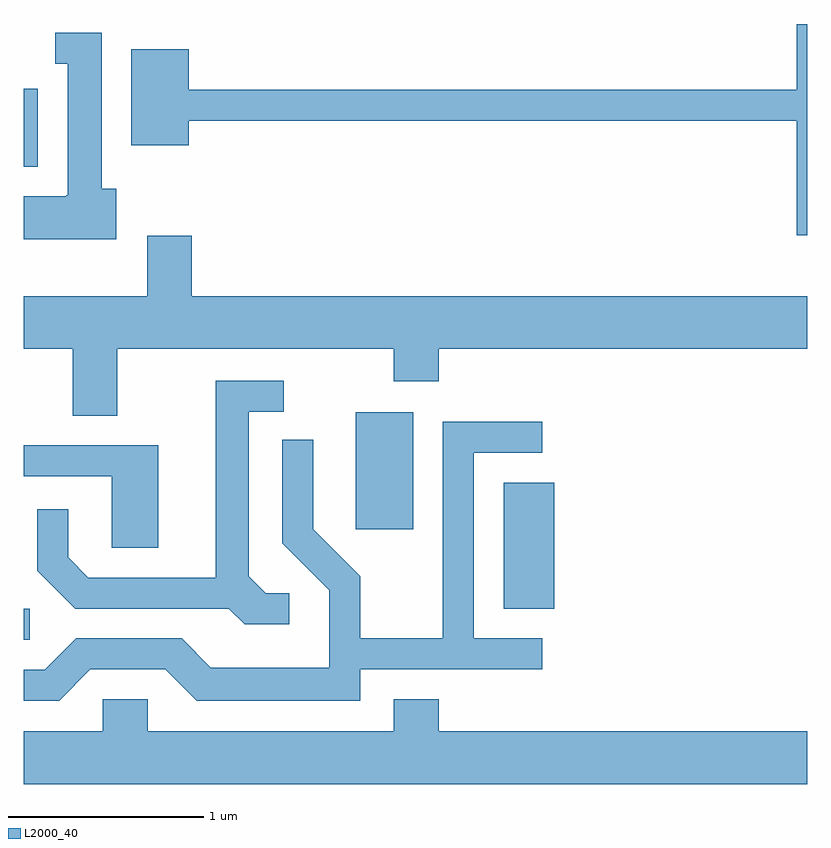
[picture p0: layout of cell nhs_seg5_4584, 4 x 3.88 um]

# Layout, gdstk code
import gdstk
lib = gdstk.Library(unit=1e-6, precision=1e-09)
def R(c, l, rs):  # rectangles x0, y0, x1, y1
    for r in rs: c.add(gdstk.rectangle(r[:2], r[2:], *l))
def P(c, l, *ps):  # polygons
    for p in ps: c.add(gdstk.Polygon(p, *l))
L2000_40 = (2000, 40)

nhs_seg5_4584 = lib.new_cell('nhs_seg5_4584')
R(nhs_seg5_4584, L2000_40, [(321.611,1430.891,321.643,1431.049), (324.061,1431.051,324.319,1431.694), (323.306,1431.456,323.599,1432.054), (321.611,1433.306,321.684,1433.704)])
P(nhs_seg5_4584, L2000_40, [(325.611,1434.034),(325.556,1434.034),(325.556,1433.699),(322.454,1433.699),(322.454,1433.904),(322.161,1433.904),(322.161,1433.416),(322.454,1433.416),(322.454,1433.541),(325.556,1433.541),(325.556,1432.956),(325.611,1432.956)],
  [(322.084,1433.194),(322.009,1433.194),(322.009,1433.989),(321.773,1433.989),(321.773,1433.831),(321.836,1433.831),(321.836,1433.16),(321.83,1433.16),(321.83,1433.154),(321.611,1433.154),(321.611,1432.936),(322.084,1432.936)],
  [(321.611,1432.376),(321.861,1432.376),(321.861,1432.036),(322.089,1432.036),(322.089,1432.376),(323.501,1432.376),(323.501,1432.211),(323.729,1432.211),(323.729,1432.376),(325.611,1432.376),(325.611,1432.644),(322.469,1432.644),(322.469,1432.954),(322.241,1432.954),(322.241,1432.644),(321.611,1432.644)],
  [(322.968,1431.129),(322.847,1431.129),(322.759,1431.217),(322.759,1432.056),(322.938,1432.056),(322.938,1432.214),(322.591,1432.214),(322.591,1431.209),(321.942,1431.209),(321.839,1431.312),(321.839,1431.558),(321.681,1431.558),(321.681,1431.244),(321.874,1431.051),(322.659,1431.051),(322.739,1430.971),(322.968,1430.971)],
  [(321.952,1430.741),(322.334,1430.741),(322.494,1430.581),(323.329,1430.581),(323.329,1430.741),(324.258,1430.741),(324.258,1430.899),(323.909,1430.899),(323.909,1431.846),(324.258,1431.846),(324.258,1432.004),(323.751,1432.004),(323.751,1430.899),(323.329,1430.899),(323.329,1431.217),(323.089,1431.457),(323.089,1431.913),(322.931,1431.913),(322.931,1431.384),(323.171,1431.144),(323.171,1430.749),(322.567,1430.749),(322.417,1430.899),(321.879,1430.899),(321.719,1430.739),(321.611,1430.739),(321.611,1430.581),(321.792,1430.581)],
  [(322.299,1431.884),(321.611,1431.884),(321.611,1431.726),(322.061,1431.726),(322.061,1431.361),(322.299,1431.361)],
  [(325.611,1430.424),(323.729,1430.424),(323.729,1430.589),(323.501,1430.589),(323.501,1430.424),(322.244,1430.424),(322.244,1430.589),(322.016,1430.589),(322.016,1430.424),(321.611,1430.424),(321.611,1430.156),(325.611,1430.156)])

lib.write_gds('nhs_seg5_4584.gds')
